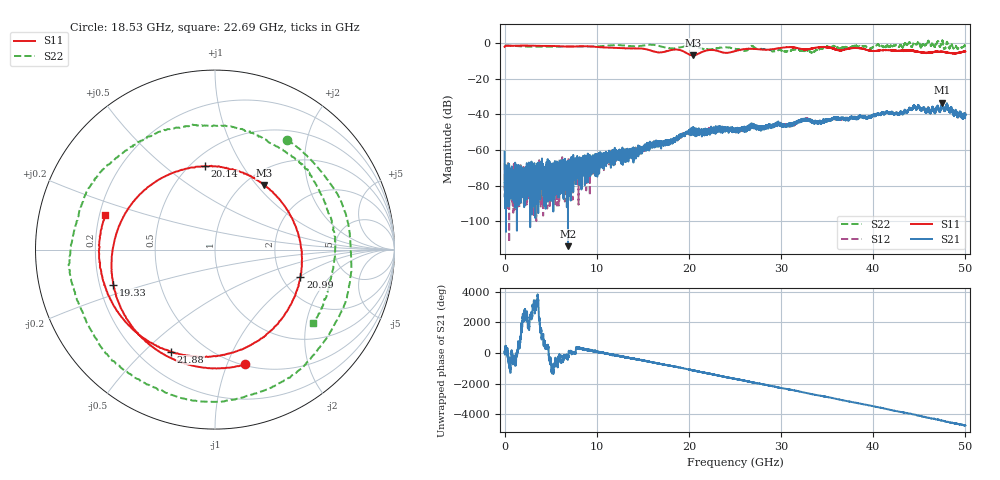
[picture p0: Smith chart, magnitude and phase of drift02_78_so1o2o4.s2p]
!Created with skrf (http://scikit-rf.org).
# Hz S RI R 50.0
!freq ReS11 ImS11 ReS21 ImS21 ReS12 ImS12 ReS22 ImS22
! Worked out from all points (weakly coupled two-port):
!   10001 points, 300 kHz to 50 GHz, reference 50 ohm
!   highest |S21| = -33.36 dB at 47.51 GHz (marker M1); lowest = -114.1 dB at 6.875 GHz (marker M2)
!   lowest |S11| = -6.9 dB at 20.45 GHz (marker M3), VSWR 2.65, Z = 60.9 + j54.8 ohm
!   |S11| at or under -10 dB: nowhere
!   |S22| runs from -5.3 to 1.5 dB; largest |S21 - S12| = 0.0034
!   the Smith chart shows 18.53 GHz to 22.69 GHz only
!   S11 on the Smith chart (normalised r, x): 18.53 GHz: 0.51, -1.16; 19.33 GHz: 0.26, -0.16; 20.14 GHz: 0.59, +0.70; 20.99 GHz: 2.51, -1.03; 21.88 GHz: 0.33, -0.61; 22.69 GHz: 0.22, +0.15
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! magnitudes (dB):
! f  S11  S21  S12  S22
! 300 kHz  -2.1  -61.0  -67.4  -1.3
! 255.3 MHz  -1.4  -70.8  -79.6  -1.4
! 4.645 GHz  -1.6  -74.3  -86.2  -2.0
! 6.875 GHz  -1.9  -114.1  -69.1  -1.9
! 8.335 GHz  -1.7  -65.5  -69.0  -1.9
! 16.67 GHz  -5.2  -56.3  -57.1  -1.5
! 18.53 GHz  -3.6  -54.4  -54.8  -2.7
! 19.33 GHz  -4.4  -51.1  -52.0  -2.1
! 20.14 GHz  -6.6  -50.6  -51.1  -1.5
! 20.45 GHz  -6.9  -50.0  -49.2  -1.8
! 20.99 GHz  -6.0  -50.6  -49.0  -2.3
! 21.88 GHz  -4.2  -50.5  -49.7  -3.4
! 22.69 GHz  -3.9  -48.6  -48.7  -3.3
! 25 GHz  -4.4  -49.2  -48.5  -3.2
! 26.11 GHz  -3.3  -47.9  -47.8  -4.3
! 26.91 GHz  -3.2  -45.9  -46.7  -1.6
! 28.17 GHz  -3.7  -48.5  -47.9  -3.4
! 33.34 GHz  -3.0  -43.5  -43.4  -5.2
! 34.89 GHz  -2.2  -43.4  -43.1  -2.1
! 41.67 GHz  -3.9  -39.3  -39.4  -2.0
! 47.51 GHz  -4.8  -33.4  -34.0  1.5
! 50 GHz  -4.7  -40.3  -39.2  -1.5
